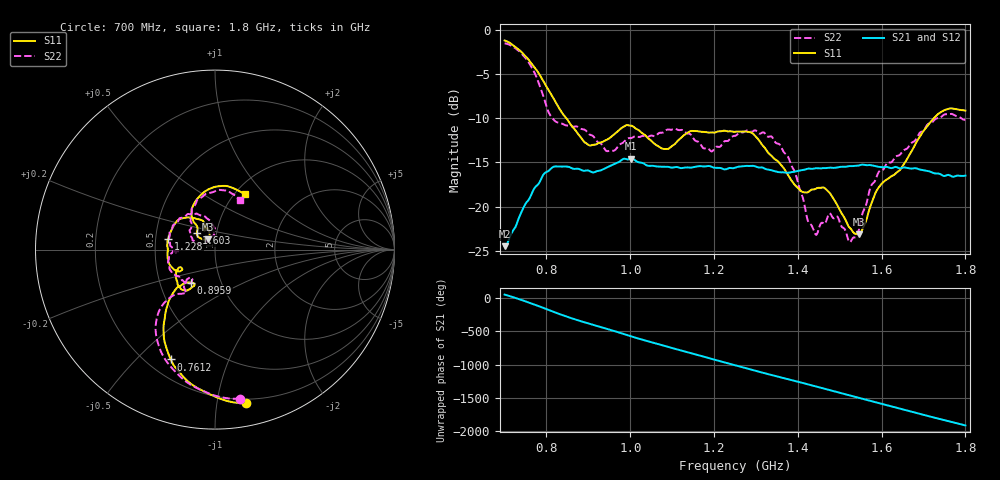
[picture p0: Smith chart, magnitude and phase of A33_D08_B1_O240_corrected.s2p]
! Created with skrf 1.9.0 (http://scikit-rf.org).
# Hz S RI R 50.0
!freq ReS11 ImS11 ReS21 ImS21 ReS12 ImS12 ReS22 ImS22
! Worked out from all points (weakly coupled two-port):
!   1601 points, 700 MHz to 1.8 GHz, reference 50 ohm
!   highest |S21| = -14.57 dB at 1.002 GHz (marker M1); lowest = -24.5 dB at 700 MHz (marker M2)
!   lowest |S11| = -23.2 dB at 1.546 GHz (marker M3), VSWR 1.15, Z = 46 + j5.36 ohm
!   |S11| at or under -10 dB: 847.6 MHz to 1.724 GHz (876.9 MHz wide, 68.2 % of centre)
!   |S22| runs from -24.0 to -1.5 dB; largest |S21 - S12| = 0.0036
!   S11 on the Smith chart (normalised r, x): 700 MHz: 0.17, -1.21; 761.2 MHz: 0.29, -0.63; 895.9 MHz: 0.72, -0.28; 1.228 GHz: 0.58, +0.07; 1.603 GHz: 0.80, +0.15; 1.8 GHz: 1.11, +0.78
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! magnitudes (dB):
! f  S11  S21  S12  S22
! 700 MHz  -1.2  -24.5  -24.3  -1.5
! 761.2 MHz  -3.6  -18.9  -18.8  -4.0
! 814.1 MHz  -7.5  -15.6  -15.6  -10.0
! 883.6 MHz  -12.3  -15.9  -15.8  -11.2
! 895.9 MHz  -12.9  -15.9  -16.0  -11.5
! 946.1 MHz  -12.4  -15.5  -15.5  -13.7
! 1.002 GHz  -10.8  -14.6  -14.7  -12.2
! 1.067 GHz  -13.2  -15.5  -15.4  -11.7
! 1.194 GHz  -11.6  -15.5  -15.4  -13.7
! 1.228 GHz  -11.4  -15.8  -15.7  -12.6
! 1.25 GHz  -11.5  -15.6  -15.5  -12.0
! 1.357 GHz  -15.1  -16.1  -16.1  -13.0
! 1.434 GHz  -18.1  -15.7  -15.7  -22.2
! 1.469 GHz  -18.1  -15.6  -15.6  -21.5
! 1.494 GHz  -19.8  -15.6  -15.6  -21.1
! 1.524 GHz  -22.4  -15.4  -15.4  -24.0
! 1.546 GHz  -23.2  -15.3  -15.3  -22.5
! 1.575 GHz  -19.8  -15.3  -15.3  -17.7
! 1.603 GHz  -17.2  -15.5  -15.5  -15.8
! 1.617 GHz  -16.8  -15.6  -15.5  -15.0
! 1.733 GHz  -9.6  -16.2  -16.3  -10.0
! 1.8 GHz  -9.1  -16.5  -16.5  -10.2
